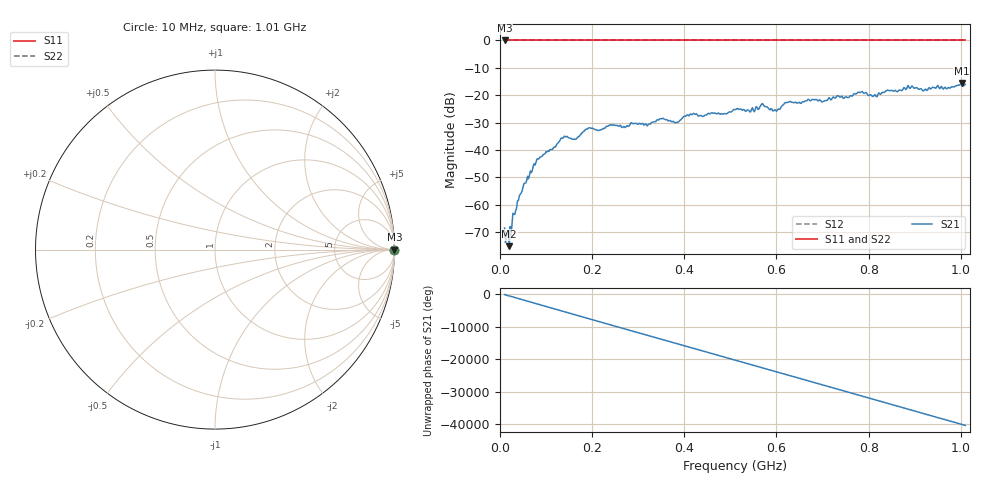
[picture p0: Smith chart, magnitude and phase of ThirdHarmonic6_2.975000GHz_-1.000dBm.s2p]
! 8/17/2025 8:26:09 AM
! C:\ANRITSUVNA\TEMP\TEMP.S2P
! CHANNEL.1
! TR.MEASUREMENT
! RAW.DATA
! RF.CORRECTION.OFF
! AVERAGING.OFF
! IF.BANDWIDTH: 5KHZ
! SWEEPTYPE:  FREQ.SWEEP(Linear)
! Reference Plane Port Info
! PORT:  PORT1  PORT2
! DISTANCE:  0  m  0  m
! TIME:  0  s  0  s
! PHASE.OFFSET:  0  deg.  0  deg.
! LOSS:  0  dB  0  dB
! REF.LOSS:  0  dB  0  dB
! REF.FREQ:  0  Hz  0  Hz
! Power Info
! POWER:  -20  dBm  -20  dBm
! EFF.POWER:  -20  dBm  -20  dBm
! SOURCE.ATTEN:  0  dB  0  dB
! TEST.ATTEN:  0  dB  0  dB
# GHZ S RI R 50.0
! FREQ.GHZ  S11RE  S11IM  S21RE  S21IM  S12RE  S12IM  S22RE  S22IM
!; PortSelection: Port_12
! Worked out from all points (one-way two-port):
!   501 points, 10 MHz to 1.01 GHz, reference 50 ohm
!   highest |S21| = -15.50 dB at 1.002 GHz (marker M1); lowest = -75.1 dB at 20 MHz (marker M2)
!   lowest |S11| = 0.0 dB at 10 MHz (marker M3)
!   |S11| at or under -10 dB: nowhere
!   |S22| runs from 0.0 to 0.0 dB; largest |S21 - S12| = 1.2
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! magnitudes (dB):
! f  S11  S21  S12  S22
! 10 MHz  0.0  -68.5  0.0  0.0
! 16 MHz  0.0  -70.0  0.0  0.0
! 20 MHz  0.0  -75.1  0.0  0.0
! 42 MHz  0.0  -56.7  0.0  0.0
! 78 MHz  0.0  -44.5  0.0  0.0
! 136 MHz  0.0  -35.7  0.0  0.0
! 162 MHz  0.0  -36.0  0.0  0.0
! 178 MHz  0.0  -33.7  0.0  0.0
! 344 MHz  0.0  -29.0  0.0  0.0
! 382 MHz  0.0  -29.9  0.0  0.0
! 416 MHz  0.0  -27.1  0.0  0.0
! 510 MHz  0.0  -25.2  0.0  0.0
! 540 MHz  0.0  -25.5  0.0  0.0
! 570 MHz  0.0  -23.1  0.0  0.0
! 596 MHz  0.0  -25.2  0.0  0.0
! 622 MHz  0.0  -22.7  0.0  0.0
! 678 MHz  0.0  -21.5  0.0  0.0
! 782 MHz  0.0  -19.0  0.0  0.0
! 814 MHz  0.0  -19.8  0.0  0.0
! 844 MHz  0.0  -18.3  0.0  0.0
! 1.002 GHz  0.0  -15.5  0.0  0.0
! 1.01 GHz  0.0  -16.1  0.0  0.0
